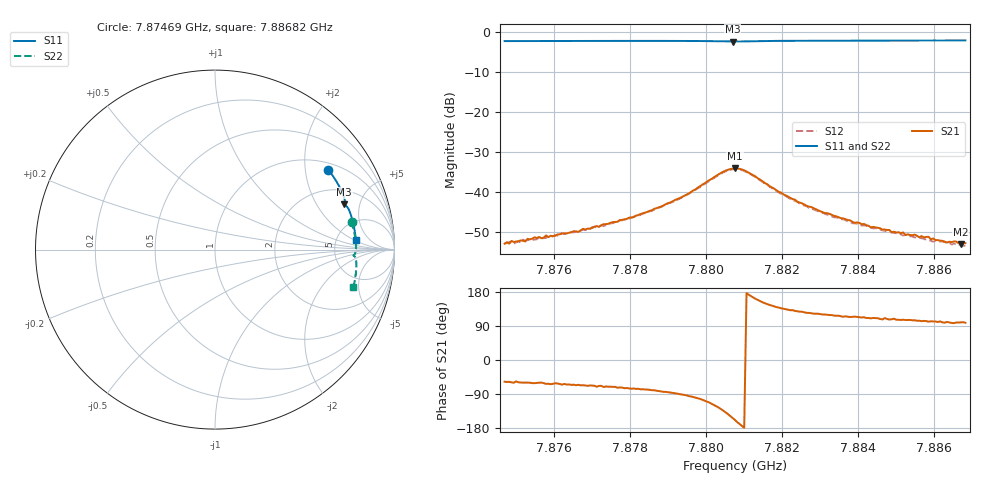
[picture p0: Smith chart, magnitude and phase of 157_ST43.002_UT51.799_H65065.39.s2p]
#  HZ  S  DB  R  50.00
! Rohde & Schwarz Vector Network Analyzer
! Rohde-Schwarz,ZNB20-2Port,1311601062101988,3.16
! Created: UTC 1/12/2023, 6:40:59 PM
! freq[Hz]  db:S11  ang:S11  db:S21  ang:S21  db:S12  ang:S12  db:S22  ang:S22
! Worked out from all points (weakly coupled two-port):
!   201 points, 7.87469 GHz to 7.88682 GHz, reference 50 ohm
!   highest |S21| = -34.03 dB at 7.88076 GHz (marker M1); lowest = -52.9 dB at 7.8867 GHz (marker M2)
!   lowest |S11| = -2.4 dB at 7.8807 GHz (marker M3), VSWR 7.43, Z = 148 + j178 ohm
!   |S11| at or under -10 dB: nowhere
!   |S22| runs from -2.3 to -1.9 dB; largest |S21 - S12| = 0.0013
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7.874692e9  -2.24 35.3  -52.87 -57.2  -52.69 -61.4  -2.19 11.3
7.874935e9  -2.24 34.6  -52.44 -60.0  -52.87 -61.2  -2.18 10.7
7.875177e9  -2.23 34.0  -52.14 -59.7  -51.84 -62.3  -2.18 10.1
7.875784e9  -2.22 32.3  -50.80 -63.0  -51.43 -66.1  -2.15 8.7
7.875845e9  -2.22 32.1  -51.21 -62.7  -51.00 -66.3  -2.16 8.5
7.876633e9  -2.21 30.0  -49.90 -65.5  -49.87 -70.6  -2.14 6.7
7.876754e9  -2.21 29.6  -49.15 -66.6  -49.36 -69.1  -2.13 6.4
7.877664e9  -2.20 27.2  -47.39 -73.2  -47.31 -76.4  -2.11 4.3
7.878756e9  -2.19 24.1  -43.78 -82.0  -43.85 -85.8  -2.09 1.7
7.880454e9  -2.32 19.5  -34.86 -134.0  -35.01 -137.5  -2.22 -2.3
7.880697e9  -2.35 19.3  -34.10 -153.2  -34.28 -156.7  -2.25 -2.4
7.880758e9  -2.35 19.3  -34.03 -158.3  -34.23 -161.9  -2.25 -2.4
7.881121e9  -2.30 18.9  -35.11 172.1  -35.28 168.8  -2.20 -2.5
7.882031e9  -2.18 16.5  -40.53 135.4  -40.67 132.2  -2.06 -4.5
7.88282e9  -2.14 14.3  -43.96 122.3  -44.30 119.4  -2.02 -6.3
7.883911e9  -2.12 11.3  -47.64 114.4  -47.78 111.0  -1.99 -8.8
7.884821e9  -2.10 9.0  -49.43 106.6  -49.90 104.4  -1.97 -10.9
7.885246e9  -2.10 7.8  -50.71 105.4  -50.65 102.1  -1.97 -11.8
7.885852e9  -2.10 6.2  -51.14 101.2  -51.99 99.6  -1.97 -13.1
7.885913e9  -2.09 6.1  -51.74 102.1  -52.12 99.0  -1.96 -13.3
7.886702e9  -2.09 4.0  -52.94 99.3  -53.29 94.0  -1.95 -15.0
7.886823e9  -2.08 3.7  -52.74 98.2  -53.48 93.5  -1.95 -15.2
